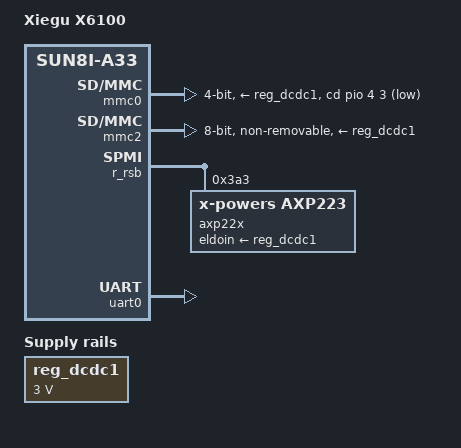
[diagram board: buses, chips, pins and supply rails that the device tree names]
// SPDX-License-Identifier: GPL-2.0-or-later OR MIT
/*
 * Xiegu X6100: the little U-Boot needs to load Linux from the SD card.
 * The full board description lives in the kernel tree
 * (board/x6100/dts/allwinner/sun8i-r16-xiegu-x6100.dts); U-Boot only
 * brings up the PMIC, the console and the two MMC controllers.
 */

/dts-v1/;

#include "sun8i-a33.dtsi"

#include <dt-bindings/gpio/gpio.h>

/ {
	model = "Xiegu X6100";
	compatible = "xiegu,x6100", "allwinner,sun8i-r16", "allwinner,sun8i-a33";

	aliases {
		serial0 = &uart0;
		mmc0 = &mmc0;
		mmc1 = &mmc2;
	};

	chosen {
		stdout-path = "serial0:115200n8";
	};
};

&mmc0 {
	vmmc-supply = <&reg_dcdc1>;
	bus-width = <4>;
	cd-gpios = <&pio 4 3 GPIO_ACTIVE_LOW>; /* PE3 */
	status = "okay";
};

&mmc2 {
	pinctrl-names = "default";
	pinctrl-0 = <&mmc2_8bit_pins>;
	vmmc-supply = <&reg_dcdc1>;
	bus-width = <8>;
	non-removable;
	cap-mmc-hw-reset;
	status = "okay";
};

&r_rsb {
	status = "okay";

	axp22x: pmic@3a3 {
		compatible = "x-powers,axp223";
		reg = <0x3a3>;
		interrupt-parent = <&r_intc>;
		interrupts = <0 IRQ_TYPE_LEVEL_LOW>;
		eldoin-supply = <&reg_dcdc1>;
	};
};

#include "axp223.dtsi"

&reg_dcdc1 {
	regulator-always-on;
	regulator-min-microvolt = <3000000>;
	regulator-max-microvolt = <3000000>;
	regulator-name = "vcc-3v0";
};

&uart0 {
	pinctrl-names = "default";
	pinctrl-0 = <&uart0_pb_pins>;
	status = "okay";
};
